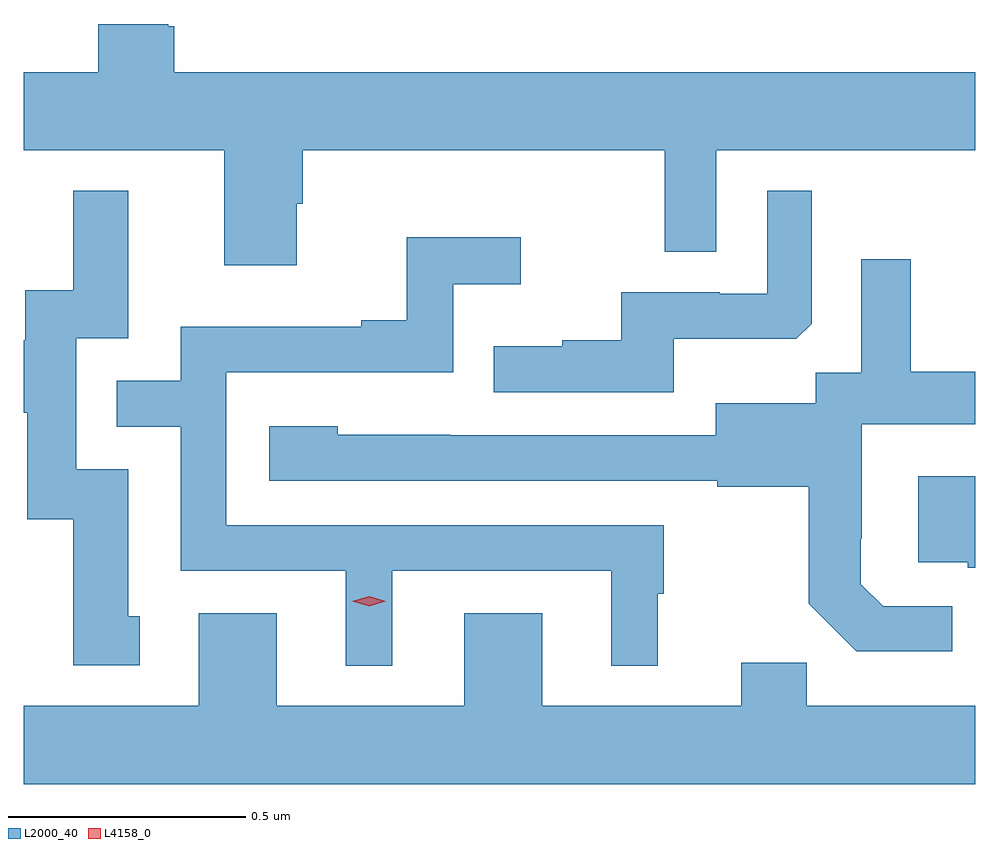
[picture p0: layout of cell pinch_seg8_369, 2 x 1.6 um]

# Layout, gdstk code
import gdstk
lib = gdstk.Library(unit=1e-6, precision=1e-09)
def P(c, l, *ps):  # polygons
    for p in ps: c.add(gdstk.Polygon(p, *l))
L2000_40 = (2000, 40)
L4158_0 = (4158, 0)

pinch_seg8_369 = lib.new_cell('pinch_seg8_369')
P(pinch_seg8_369, L2000_40, [(489.685,1120.383),(489.698,1120.383),(489.698,1120.496),(490.458,1120.496),(490.458,1120.282),(490.566,1120.282),(490.566,1120.496),(491.111,1120.496),(491.111,1120.66),(489.428,1120.66),(489.428,1120.756),(489.415,1120.756),(489.415,1120.761),(489.268,1120.761),(489.268,1120.66),(489.111,1120.66),(489.111,1120.496),(489.533,1120.496),(489.533,1120.254),(489.685,1120.254)],
  [(490.477,1120.1),(490.735,1120.1),(490.767,1120.131),(490.767,1120.411),(490.674,1120.411),(490.674,1120.194),(490.574,1120.194),(490.574,1120.197),(490.367,1120.197),(490.367,1120.096),(490.243,1120.096),(490.243,1120.084),(490.099,1120.084),(490.099,1119.987),(490.477,1119.987)],
  [(489.355,1119.516),(489.331,1119.516),(489.331,1119.825),(489.222,1119.825),(489.222,1120.101),(489.331,1120.101),(489.331,1120.411),(489.215,1120.411),(489.215,1120.202),(489.114,1120.202),(489.114,1120.096),(489.111,1120.096),(489.111,1119.944),(489.119,1119.944),(489.119,1119.72),(489.215,1119.72),(489.215,1119.414),(489.355,1119.414)],
  [(489.886,1119.612),(490.346,1119.612),(490.346,1119.413),(490.444,1119.413),(490.444,1119.564),(490.456,1119.564),(490.456,1119.708),(489.537,1119.708),(489.537,1120.029),(490.014,1120.029),(490.014,1120.214),(490.156,1120.214),(490.156,1120.313),(489.916,1120.313),(489.916,1120.138),(489.821,1120.138),(489.821,1120.125),(489.441,1120.125),(489.441,1120.011),(489.307,1120.011),(489.307,1119.915),(489.441,1119.915),(489.441,1119.612),(489.788,1119.612),(489.788,1119.413),(489.886,1119.413)],
  [(491.062,1119.537),(490.917,1119.537),(490.87,1119.584),(490.87,1119.679),(490.872,1119.679),(490.872,1119.92),(491.111,1119.92),(491.111,1120.03),(490.975,1120.03),(490.975,1120.267),(490.871,1120.267),(490.871,1120.028),(490.776,1120.028),(490.776,1119.964),(490.565,1119.964),(490.565,1119.897),(490.007,1119.897),(490.007,1119.898),(489.771,1119.898),(489.771,1119.916),(489.627,1119.916),(489.627,1119.801),(490.569,1119.801),(490.569,1119.789),(490.761,1119.789),(490.761,1119.543),(490.861,1119.443),(491.062,1119.443)],
  [(491.111,1119.811),(490.991,1119.811),(490.991,1119.63),(491.095,1119.63),(491.095,1119.618),(491.111,1119.618)],
  [(491.111,1119.328),(490.757,1119.328),(490.757,1119.419),(490.619,1119.419),(490.619,1119.328),(490.201,1119.328),(490.201,1119.523),(490.037,1119.523),(490.037,1119.328),(489.643,1119.328),(489.643,1119.523),(489.479,1119.523),(489.479,1119.328),(489.111,1119.328),(489.111,1119.164),(491.111,1119.164)])
P(pinch_seg8_369, L4158_0, [(489.837,1119.538),(489.802,1119.548),(489.802,1119.548),(489.802,1119.548),(489.837,1119.558),(489.872,1119.548),(489.872,1119.548),(489.872,1119.548)])

lib.write_gds('pinch_seg8_369.gds')
